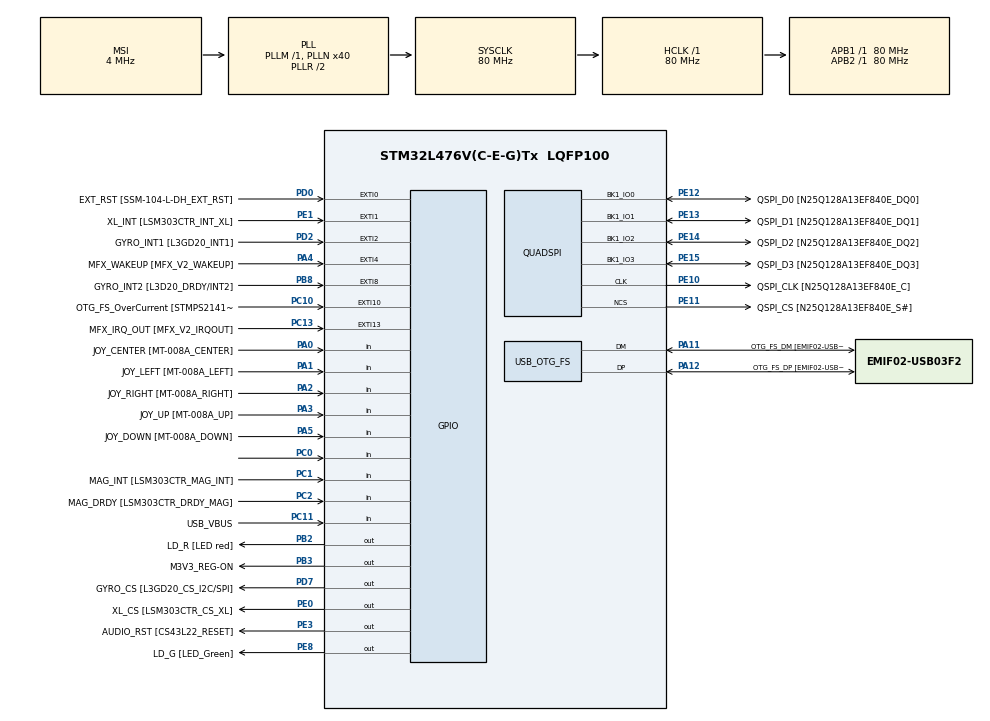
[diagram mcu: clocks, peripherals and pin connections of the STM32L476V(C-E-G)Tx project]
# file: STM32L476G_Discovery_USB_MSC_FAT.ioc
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FATFS._MAX_SS=4096
FATFS._MIN_SS=4096
FREERTOS.INCLUDE_uxTaskGetStackHighWaterMark=1
FREERTOS.Mutexes01=qspiMutex
FREERTOS.Tasks01=appTask,0,4096,appTaskBody,Default;usbTask,2,256,usbTaskBody,Default
FREERTOS.configTOTAL_HEAP_SIZE=24576
Mcu.Family=STM32L4
Mcu.Name=STM32L476V(C-E-G)Tx
Mcu.Package=LQFP100
NVIC.OTG_FS_IRQn=true\:5\:0\:false\:false\:true\:true
NVIC.PriorityGroup=NVIC_PRIORITYGROUP_4
PA0.GPIO_Label=JOY_CENTER [MT-008A_CENTER]
PA0.GPIO_Mode=GPIO_MODE_INPUT
PA0.GPIO_PuPd=GPIO_PULLDOWN
PA0.Signal=GPIO_Input
PA1.GPIO_Label=JOY_LEFT [MT-008A_LEFT]
PA1.GPIO_Mode=GPIO_MODE_INPUT
PA1.GPIO_PuPd=GPIO_PULLDOWN
PA1.Signal=GPIO_Input
PA10.GPIO_Label=COM2 [GH08172T_COM2]
PA10.GPIO_Mode=GPIO_MODE_AF_PP
PA10.GPIO_PuPd=GPIO_NOPULL
PA10.GPIO_Speed=GPIO_SPEED_FREQ_LOW
PA10.Signal=LCD_COM2
PA11.GPIO_Label=OTG_FS_DM [EMIF02-USB03F2_D-out]
PA11.GPIO_Mode=GPIO_MODE_AF_PP
PA11.GPIO_PuPd=GPIO_NOPULL
PA11.GPIO_Speed=GPIO_SPEED_FREQ_VERY_HIGH
PA11.Mode=Device_Only
PA11.Signal=USB_OTG_FS_DM
PA12.GPIO_Label=OTG_FS_DP [EMIF02-USB03F2_D+out]
PA12.GPIO_Mode=GPIO_MODE_AF_PP
PA12.GPIO_PuPd=GPIO_NOPULL
PA12.GPIO_Speed=GPIO_SPEED_FREQ_VERY_HIGH
PA12.Mode=Device_Only
PA12.Signal=USB_OTG_FS_DP
PA13.GPIO_Label=SWDIO
PA13.Mode=Serial_Wire
PA13.Signal=SYS_JTMS-SWDIO
PA14.GPIO_Label=SWCLK
PA14.Mode=Serial_Wire
PA14.Signal=SYS_JTCK-SWCLK
PA15.GPIO_Label=SEG10 [GH08172T_SEG10]
PA15.GPIO_Mode=GPIO_MODE_AF_PP
PA15.GPIO_PuPd=GPIO_NOPULL
PA15.GPIO_Speed=GPIO_SPEED_FREQ_LOW
PA15.Signal=LCD_SEG17
PA2.GPIO_Label=JOY_RIGHT [MT-008A_RIGHT]
PA2.GPIO_Mode=GPIO_MODE_INPUT
PA2.GPIO_PuPd=GPIO_PULLDOWN
PA2.Signal=GPIO_Input
PA3.GPIO_Label=JOY_UP [MT-008A_UP]
PA3.GPIO_Mode=GPIO_MODE_INPUT
PA3.GPIO_PuPd=GPIO_PULLDOWN
PA3.Signal=GPIO_Input
PA4.GPIO_Label=MFX_WAKEUP [MFX_V2_WAKEUP]
PA4.GPIO_ModeDefaultEXTI=GPIO_MODE_EVT_RISING
PA4.GPIO_PuPd=GPIO_NOPULL
PA4.Signal=GPXTI4
PA5.GPIO_Label=JOY_DOWN [MT-008A_DOWN]
PA5.GPIO_Mode=GPIO_MODE_INPUT
PA5.GPIO_PuPd=GPIO_PULLDOWN
PA5.Signal=GPIO_Input
PA6.GPIO_Label=SEG23 [GH08172T_SEG23]
PA6.GPIO_Mode=GPIO_MODE_AF_PP
PA6.GPIO_PuPd=GPIO_NOPULL
PA6.GPIO_Speed=GPIO_SPEED_FREQ_LOW
PA6.Signal=LCD_SEG3
PA7.GPIO_Label=SEG0 [GH08172T_SEG0]
PA7.GPIO_Mode=GPIO_MODE_AF_PP
PA7.GPIO_PuPd=GPIO_NOPULL
PA7.GPIO_Speed=GPIO_SPEED_FREQ_LOW
PA7.Signal=LCD_SEG4
PA8.GPIO_Label=COM0 [GH08172T_COM0]
PA8.GPIO_Mode=GPIO_MODE_AF_PP
PA8.GPIO_PuPd=GPIO_NOPULL
PA8.GPIO_Speed=GPIO_SPEED_FREQ_LOW
PA8.Signal=LCD_COM0
PA9.GPIO_Label=COM1 [GH08172T_COM1]
PA9.GPIO_Mode=GPIO_MODE_AF_PP
PA9.GPIO_PuPd=GPIO_NOPULL
PA9.GPIO_Speed=GPIO_SPEED_FREQ_LOW
PA9.Signal=LCD_COM1
PB0.GPIO_Label=SEG21 [GH08172T_SEG21]
PB0.GPIO_Mode=GPIO_MODE_AF_PP
PB0.GPIO_PuPd=GPIO_NOPULL
PB0.GPIO_Speed=GPIO_SPEED_FREQ_LOW
PB0.Signal=LCD_SEG5
PB1.GPIO_Label=SEG2 [GH08172T_SEG2]
PB1.GPIO_Mode=GPIO_MODE_AF_PP
PB1.GPIO_PuPd=GPIO_NOPULL
PB1.GPIO_Speed=GPIO_SPEED_FREQ_LOW
PB1.Signal=LCD_SEG6
PB10.GPIO_Label=MFX_I2C_SLC [MFX_V2_I2C_SCL]
PB10.GPIO_Mode=GPIO_MODE_AF_OD
PB10.GPIO_PuPdOD=GPIO_PULLUP
PB10.GPIO_Speed=GPIO_SPEED_FREQ_VERY_HIGH
PB10.Signal=I2C2_SCL
PB11.GPIO_Label=MFX_I2C_SDA [MFX_V2_I2C_SDA]
PB11.GPIO_Mode=GPIO_MODE_AF_OD
PB11.GPIO_PuPdOD=GPIO_PULLUP
PB11.GPIO_Speed=GPIO_SPEED_FREQ_VERY_HIGH
PB11.Signal=I2C2_SDA
PB12.GPIO_Label=SEG20 [GH08172T_SEG20]
PB12.GPIO_Mode=GPIO_MODE_AF_PP
PB12.GPIO_PuPd=GPIO_NOPULL
PB12.GPIO_Speed=GPIO_SPEED_FREQ_LOW
PB12.Signal=LCD_SEG12
PB13.GPIO_Label=SEG3 [GH08172T_SEG3]
PB13.GPIO_Mode=GPIO_MODE_AF_PP
PB13.GPIO_PuPd=GPIO_NOPULL
PB13.GPIO_Speed=GPIO_SPEED_FREQ_LOW
PB13.Signal=LCD_SEG13
PB14.GPIO_Label=SEG19 [GH08172T_SEG19]
PB14.GPIO_Mode=GPIO_MODE_AF_PP
PB14.GPIO_PuPd=GPIO_NOPULL
PB14.GPIO_Speed=GPIO_SPEED_FREQ_LOW
PB14.Signal=LCD_SEG14
PB15.GPIO_Label=SEG4 [GH08172T_SEG4]
PB15.GPIO_Mode=GPIO_MODE_AF_PP
PB15.GPIO_PuPd=GPIO_NOPULL
PB15.GPIO_Speed=GPIO_SPEED_FREQ_LOW
PB15.Signal=LCD_SEG15
PB2.GPIO_Label=LD_R [LED red]
PB2.GPIO_ModeDefaultOutputPP=GPIO_MODE_OUTPUT_PP
PB2.GPIO_PuPd=GPIO_PULLUP
PB2.GPIO_Speed=GPIO_SPEED_FREQ_VERY_HIGH
PB2.Signal=GPIO_Output
PB3.GPIO_Label=M3V3_REG-ON
PB3.GPIO_ModeDefaultOutputPP=GPIO_MODE_OUTPUT_PP
PB3.GPIO_PuPd=GPIO_NOPULL
PB3.GPIO_Speed=GPIO_SPEED_FREQ_LOW
PB3.Signal=GPIO_Output
PB4.GPIO_Label=SEG11 [GH08172T_SEG11]
PB4.GPIO_Mode=GPIO_MODE_AF_PP
PB4.GPIO_PuPd=GPIO_NOPULL
PB4.GPIO_Speed=GPIO_SPEED_FREQ_LOW
PB4.Signal=LCD_SEG8
PB5.GPIO_Label=SEG12 [GH08172T_SEG12]
PB5.GPIO_Mode=GPIO_MODE_AF_PP
PB5.GPIO_PuPd=GPIO_NOPULL
PB5.GPIO_Speed=GPIO_SPEED_FREQ_LOW
PB5.Signal=LCD_SEG9
PB6.GPIO_FM6=__NULL
PB6.GPIO_Label=I2C1_SCL [SSM-104-L-DH_SCL]
PB6.GPIO_Mode=GPIO_MODE_AF_OD
PB6.GPIO_PuPdOD=GPIO_PULLUP
PB6.GPIO_Speed=GPIO_SPEED_FREQ_VERY_HIGH
PB6.Signal=I2C1_SCL
PB7.GPIO_FM7=__NULL
PB7.GPIO_Label=I2C1_SDA [SSM-104-L-DH_SDA]
PB7.GPIO_Mode=GPIO_MODE_AF_OD
PB7.GPIO_PuPdOD=GPIO_PULLUP
PB7.GPIO_Speed=GPIO_SPEED_FREQ_VERY_HIGH
PB7.Signal=I2C1_SDA
PB8.GPIO_Label=GYRO_INT2 [L3D20_DRDY/INT2]
PB8.GPIO_ModeDefaultEXTI=GPIO_MODE_EVT_RISING
PB8.GPIO_PuPd=GPIO_NOPULL
PB8.Signal=GPXTI8
PB9.GPIO_FM9=__NULL
PB9.GPIO_Label=COM3 [GH08172T_COM3]
PB9.GPIO_Mode=GPIO_MODE_AF_PP
PB9.GPIO_PuPd=GPIO_NOPULL
PB9.GPIO_Speed=GPIO_SPEED_FREQ_LOW
PB9.Signal=LCD_COM3
PC0.Signal=GPIO_Input
PC1.GPIO_Label=MAG_INT [LSM303CTR_MAG_INT]
PC1.GPIO_Mode=GPIO_MODE_INPUT
PC1.GPIO_PuPd=GPIO_NOPULL
PC1.Signal=GPIO_Input
PC10.GPIO_Label=OTG_FS_OverCurrent [STMPS2141STR_FAULT]
PC10.GPIO_ModeDefaultEXTI=GPIO_MODE_EVT_RISING
PC10.GPIO_PuPd=GPIO_NOPULL
PC10.Signal=GPXTI10
PC11.GPIO_Label=USB_VBUS
PC11.Signal=GPIO_Input
PC13.GPIO_Label=MFX_IRQ_OUT [MFX_V2_IRQOUT]
PC13.GPIO_ModeDefaultEXTI=GPIO_MODE_EVT_RISING
PC13.GPIO_PuPd=GPIO_NOPULL
PC13.Signal=GPXTI13
PC14/OSC32_IN.Mode=LSE-External-Oscillator
PC14/OSC32_IN.Signal=RCC_OSC32_IN
PC15/OSC32_OUT.Mode=LSE-External-Oscillator
PC15/OSC32_OUT.Signal=RCC_OSC32_OUT
PC2.GPIO_Label=MAG_DRDY [LSM303CTR_DRDY_MAG]
PC2.GPIO_Mode=GPIO_MODE_INPUT
PC2.GPIO_PuPd=GPIO_NOPULL
PC2.Signal=GPIO_Input
PC3.GPIO_Label=VLCD
PC3.GPIO_Mode=GPIO_MODE_AF_PP
PC3.GPIO_PuPd=GPIO_NOPULL
PC3.GPIO_Speed=GPIO_SPEED_FREQ_LOW
PC3.Signal=LCD_VLCD
PC4.GPIO_Label=SEG22 [GH08172T_SEG22]
PC4.GPIO_Mode=GPIO_MODE_AF_PP
PC4.GPIO_PuPd=GPIO_NOPULL
PC4.GPIO_Speed=GPIO_SPEED_FREQ_LOW
PC4.Signal=LCD_SEG22
PC5.GPIO_Label=SEG1 [GH08172T_SEG1]
PC5.GPIO_Mode=GPIO_MODE_AF_PP
PC5.GPIO_PuPd=GPIO_NOPULL
PC5.GPIO_Speed=GPIO_SPEED_FREQ_LOW
PC5.Signal=LCD_SEG23
PC6.GPIO_Label=SEG14 [GH08172T_SEG14]
PC6.GPIO_Mode=GPIO_MODE_AF_PP
PC6.GPIO_PuPd=GPIO_NOPULL
PC6.GPIO_Speed=GPIO_SPEED_FREQ_LOW
PC6.Signal=LCD_SEG24
PC7.GPIO_Label=SEG9 [GH08172T_SEG9]
PC7.GPIO_Mode=GPIO_MODE_AF_PP
PC7.GPIO_PuPd=GPIO_NOPULL
PC7.GPIO_Speed=GPIO_SPEED_FREQ_LOW
PC7.Signal=LCD_SEG25
PC8.GPIO_Label=SEG13 [GH08172T_SEG13]
PC8.GPIO_Mode=GPIO_MODE_AF_PP
PC8.GPIO_PuPd=GPIO_NOPULL
PC8.GPIO_Speed=GPIO_SPEED_FREQ_LOW
PC8.Signal=LCD_SEG26
PD0.GPIO_Label=EXT_RST [SSM-104-L-DH_EXT_RST]
PD0.GPIO_ModeDefaultEXTI=GPIO_MODE_EVT_RISING
PD0.GPIO_PuPd=GPIO_NOPULL
PD0.Signal=GPXTI0
PD1.GPIO_Label=MEMS_SCK [L3GD20_SCL/SPC]
PD1.GPIO_Mode=GPIO_MODE_AF_PP
PD1.GPIO_PuPd=GPIO_NOPULL
PD1.GPIO_Speed=GPIO_SPEED_FREQ_VERY_HIGH
PD1.Signal=SPI2_SCK
PD10.GPIO_Label=SEG17 [GH08172T_SEG17]
PD10.GPIO_Mode=GPIO_MODE_AF_PP
PD10.GPIO_PuPd=GPIO_NOPULL
PD10.GPIO_Speed=GPIO_SPEED_FREQ_LOW
PD10.Signal=LCD_SEG30
PD11.GPIO_Label=SEG6 [GH08172T_SEG6]
PD11.GPIO_Mode=GPIO_MODE_AF_PP
PD11.GPIO_PuPd=GPIO_NOPULL
PD11.GPIO_Speed=GPIO_SPEED_FREQ_LOW
PD11.Signal=LCD_SEG31
PD12.GPIO_Label=SEG16 [GH08172T_SEG16]
PD12.GPIO_Mode=GPIO_MODE_AF_PP
PD12.GPIO_PuPd=GPIO_NOPULL
PD12.GPIO_Speed=GPIO_SPEED_FREQ_LOW
PD12.Signal=LCD_SEG32
PD13.GPIO_Label=SEG7 [GH08172T_SEG7]
PD13.GPIO_Mode=GPIO_MODE_AF_PP
PD13.GPIO_PuPd=GPIO_NOPULL
PD13.GPIO_Speed=GPIO_SPEED_FREQ_LOW
PD13.Signal=LCD_SEG33
PD14.GPIO_Label=SEG15 [GH08172T_SEG15]
PD14.GPIO_Mode=GPIO_MODE_AF_PP
PD14.GPIO_PuPd=GPIO_NOPULL
PD14.GPIO_Speed=GPIO_SPEED_FREQ_LOW
PD14.Signal=LCD_SEG34
PD15.GPIO_Label=SEG8 [GH08172T_SEG8]
PD15.GPIO_Mode=GPIO_MODE_AF_PP
PD15.GPIO_PuPd=GPIO_NOPULL
PD15.GPIO_Speed=GPIO_SPEED_FREQ_LOW
PD15.Signal=LCD_SEG35
PD2.GPIO_Label=GYRO_INT1 [L3GD20_INT1]
PD2.GPIO_ModeDefaultEXTI=GPIO_MODE_EVT_RISING
PD2.GPIO_PuPd=GPIO_NOPULL
PD2.Signal=GPXTI2
PD3.GPIO_Label=MEMS_MISO [L3GD20_SA0/SDO]
PD3.GPIO_Mode=GPIO_MODE_AF_PP
PD3.GPIO_PuPd=GPIO_NOPULL
PD3.GPIO_Speed=GPIO_SPEED_FREQ_VERY_HIGH
PD3.Signal=SPI2_MISO
PD4.GPIO_Label=MEMS_MOSI [L3GD20_SDA/SDI/SDO]
PD4.GPIO_Mode=GPIO_MODE_AF_PP
PD4.GPIO_PuPd=GPIO_NOPULL
PD4.GPIO_Speed=GPIO_SPEED_FREQ_VERY_HIGH
PD4.Signal=SPI2_MOSI
PD5.GPIO_Label=USART_TX
PD5.GPIO_Mode=GPIO_MODE_AF_PP
PD5.GPIO_PuPd=GPIO_PULLUP
PD5.GPIO_Speed=GPIO_SPEED_FREQ_VERY_HIGH
PD5.Signal=USART2_TX
PD6.GPIO_Label=USART_RX
PD6.GPIO_Mode=GPIO_MODE_AF_PP
PD6.GPIO_PuPd=GPIO_PULLUP
PD6.GPIO_Speed=GPIO_SPEED_FREQ_VERY_HIGH
PD6.Signal=USART2_RX
PD7.GPIO_Label=GYRO_CS [L3GD20_CS_I2C/SPI]
PD7.GPIO_ModeDefaultOutputPP=GPIO_MODE_OUTPUT_PP
PD7.GPIO_PuPd=GPIO_NOPULL
PD7.GPIO_Speed=GPIO_SPEED_FREQ_VERY_HIGH
PD7.Signal=GPIO_Output
PD8.GPIO_Label=SEG18 [GH08172T_SEG18]
PD8.GPIO_Mode=GPIO_MODE_AF_PP
PD8.GPIO_PuPd=GPIO_NOPULL
PD8.GPIO_Speed=GPIO_SPEED_FREQ_LOW
PD8.Signal=LCD_SEG28
PD9.GPIO_Label=SEG5 [GH08172T_SEG5]
PD9.GPIO_Mode=GPIO_MODE_AF_PP
PD9.GPIO_PuPd=GPIO_NOPULL
PD9.GPIO_Speed=GPIO_SPEED_FREQ_LOW
PD9.Signal=LCD_SEG29
PE0.GPIO_Label=XL_CS [LSM303CTR_CS_XL]
PE0.GPIO_ModeDefaultOutputPP=GPIO_MODE_OUTPUT_PP
PE0.GPIO_PuPd=GPIO_NOPULL
PE0.GPIO_Speed=GPIO_SPEED_FREQ_LOW
PE0.Signal=GPIO_Output
PE1.GPIO_Label=XL_INT [LSM303CTR_INT_XL]
PE1.GPIO_ModeDefaultEXTI=GPIO_MODE_EVT_RISING
PE1.GPIO_PuPd=GPIO_NOPULL
PE1.Signal=GPXTI1
PE10.GPIO_Label=QSPI_CLK [N25Q128A13EF840E_C]
PE10.GPIO_Mode=GPIO_MODE_AF_PP
PE10.GPIO_PuPd=GPIO_NOPULL
PE10.GPIO_Speed=GPIO_SPEED_FREQ_VERY_HIGH
PE10.Mode=Single Bank
PE10.Signal=QUADSPI_CLK
PE11.GPIO_Label=QSPI_CS [N25Q128A13EF840E_S\#]
PE11.GPIO_Mode=GPIO_MODE_AF_PP
PE11.GPIO_PuPd=GPIO_NOPULL
PE11.GPIO_Speed=GPIO_SPEED_FREQ_VERY_HIGH
PE11.Mode=Single Bank
PE11.Signal=QUADSPI_NCS
PE12.GPIO_Label=QSPI_D0 [N25Q128A13EF840E_DQ0]
PE12.GPIO_Mode=GPIO_MODE_AF_PP
PE12.GPIO_PuPd=GPIO_NOPULL
PE12.GPIO_Speed=GPIO_SPEED_FREQ_VERY_HIGH
PE12.Mode=Single Bank
PE12.Signal=QUADSPI_BK1_IO0
PE13.GPIO_Label=QSPI_D1 [N25Q128A13EF840E_DQ1]
PE13.GPIO_Mode=GPIO_MODE_AF_PP
PE13.GPIO_PuPd=GPIO_NOPULL
PE13.GPIO_Speed=GPIO_SPEED_FREQ_VERY_HIGH
PE13.Mode=Single Bank
PE13.Signal=QUADSPI_BK1_IO1
PE14.GPIO_Label=QSPI_D2 [N25Q128A13EF840E_DQ2]
PE14.GPIO_Mode=GPIO_MODE_AF_PP
PE14.GPIO_PuPd=GPIO_NOPULL
PE14.GPIO_Speed=GPIO_SPEED_FREQ_VERY_HIGH
PE14.Mode=Single Bank
PE14.Signal=QUADSPI_BK1_IO2
PE15.GPIO_Label=QSPI_D3 [N25Q128A13EF840E_DQ3]
PE15.GPIO_Mode=GPIO_MODE_AF_PP
PE15.GPIO_PuPd=GPIO_NOPULL
PE15.GPIO_Speed=GPIO_SPEED_FREQ_VERY_HIGH
PE15.Mode=Single Bank
PE15.Signal=QUADSPI_BK1_IO3
PE2.GPIO_Label=SAI1_MCK [CS43L22_MCLK]
PE2.GPIO_Mode=GPIO_MODE_AF_PP
PE2.GPIO_PuPd=GPIO_NOPULL
PE2.GPIO_Speed=GPIO_SPEED_FREQ_VERY_HIGH
PE2.Signal=SAI1_MCLK_A
PE3.GPIO_Label=AUDIO_RST [CS43L22_RESET]
PE3.GPIO_ModeDefaultOutputPP=GPIO_MODE_OUTPUT_PP
PE3.GPIO_PuPd=GPIO_NOPULL
PE3.GPIO_Speed=GPIO_SPEED_FREQ_HIGH
PE3.Signal=GPIO_Output
PE4.GPIO_Label=SAI1_FS [CS43L22_LRCK]
PE4.GPIO_Mode=GPIO_MODE_AF_PP
PE4.GPIO_PuPd=GPIO_NOPULL
PE4.GPIO_Speed=GPIO_SPEED_FREQ_VERY_HIGH
PE4.Signal=SAI1_FS_A
PE5.GPIO_Label=SAI1_SCK [CS43L22_SCLK]
PE5.GPIO_Mode=GPIO_MODE_AF_PP
PE5.GPIO_PuPd=GPIO_NOPULL
PE5.GPIO_Speed=GPIO_SPEED_FREQ_VERY_HIGH
PE5.Signal=SAI1_SCK_A
PE6.GPIO_Label=SAI1_SD [CS43L22_SDIN]
PE6.GPIO_Mode=GPIO_MODE_AF_PP
PE6.GPIO_PuPd=GPIO_NOPULL
PE6.GPIO_Speed=GPIO_SPEED_FREQ_VERY_HIGH
PE6.Signal=SAI1_SD_A
PE7.GPIO_Label=AUDIO_DIN [MP34DT01_DOUT]
PE7.GPIO_Mode=GPIO_MODE_AF_PP
PE7.GPIO_PuPd=GPIO_NOPULL
PE7.GPIO_Speed=GPIO_SPEED_FREQ_VERY_HIGH
PE7.Signal=SAI1_SD_B
PE8.GPIO_Label=LD_G [LED_Green]
PE8.GPIO_ModeDefaultOutputPP=GPIO_MODE_OUTPUT_PP
PE8.GPIO_PuPd=GPIO_PULLUP
PE8.GPIO_Speed=GPIO_SPEED_FREQ_VERY_HIGH
PE8.Signal=GPIO_Output
PE9.GPIO_Label=AUDIO_CLK [MP34DT01_CLK]
PE9.GPIO_Mode=GPIO_MODE_AF_PP
PE9.GPIO_PuPd=GPIO_NOPULL
PE9.GPIO_Speed=GPIO_SPEED_FREQ_LOW
PE9.Signal=SAI1_FS_B
PH0/OSC_IN.Signal=RCC_OSC_IN
PH1/OSC_OUT.Signal=RCC_OSC_OUT
ProjectManager.HeapSize=0x200
ProjectManager.StackSize=0x400
ProjectManager.TargetToolchain=SW4STM32
QUADSPI.ClockPrescaler-Single\ Bank=0
QUADSPI.FifoThreshold-Single\ Bank=4
QUADSPI.FlashSize-Single\ Bank=23
RCC.ADCFreq_Value=48000000
RCC.AHBFreq_Value=80000000
RCC.APB1Freq_Value=80000000
RCC.APB1TimFreq_Value=80000000
RCC.APB2Freq_Value=80000000
RCC.APB2TimFreq_Value=80000000
RCC.CortexFreq_Value=80000000
RCC.HCLKFreq_Value=80000000
RCC.HSE_VALUE=8000000
RCC.HSI_VALUE=16000000
RCC.MSI_VALUE=4000000
RCC.PLLN=40
RCC.PLLSAI1N=24
RCC.PREFETCH_ENABLE=1
RCC.SYSCLKFreq_VALUE=80000000
RCC.SYSCLKSource=RCC_SYSCLKSOURCE_PLLCLK
RCC.USBFreq_Value=48000000
RCC.VCOOutputFreq_Value=160000000
USB_DEVICE.MSC_MEDIA_PACKET=4096
USB_DEVICE.USBD_HandleTypeDef=hUsbDeviceFS
USB_DEVICE.USBD_LPM_ENABLED=0
USB_DEVICE.VirtualMode=Msc
USB_DEVICE.VirtualModeFS=Msc_FS
USB_OTG_FS.VirtualMode=Device_Only
USB_OTG_FS.vbus_sensing_enable=DISABLE
VP_FATFS_VS_Generic.Mode=User_defined
VP_FREERTOS_VS_ENABLE.Mode=Enabled
VP_USB_DEVICE_VS_USB_DEVICE_MSC_FS.Mode=MSC_FS
board=STM32L476G-DISCO

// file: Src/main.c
/**
  ******************************************************************************
  * File Name          : main.c
  * Description        : Main program body
  ******************************************************************************
  *
  * COPYRIGHT(c) 2016 STMicroelectronics
  *
  * Redistribution and use in source and binary forms, with or without modification,
  * are permitted provided that the following conditions are met:
  *   1. Redistributions of source code must retain the above copyright notice,
  *      this list of conditions and the following disclaimer.
  *   2. Redistributions in binary form must reproduce the above copyright notice,
  *      this list of conditions and the following disclaimer in the documentation
  *      and/or other materials provided with the distribution.
  *   3. Neither the name of STMicroelectronics nor the names of its contributors
  *      may be used to endorse or promote products derived from this software
  *      without specific prior written permission.
  *
  * THIS SOFTWARE IS PROVIDED BY THE COPYRIGHT HOLDERS AND CONTRIBUTORS "AS IS"
  * AND ANY EXPRESS OR IMPLIED WARRANTIES, INCLUDING, BUT NOT LIMITED TO, THE
  * IMPLIED WARRANTIES OF MERCHANTABILITY AND FITNESS FOR A PARTICULAR PURPOSE ARE
  * DISCLAIMED. IN NO EVENT SHALL THE COPYRIGHT HOLDER OR CONTRIBUTORS BE LIABLE
  * FOR ANY DIRECT, INDIRECT, INCIDENTAL, SPECIAL, EXEMPLARY, OR CONSEQUENTIAL
  * DAMAGES (INCLUDING, BUT NOT LIMITED TO, PROCUREMENT OF SUBSTITUTE GOODS OR
  * SERVICES; LOSS OF USE, DATA, OR PROFITS; OR BUSINESS INTERRUPTION) HOWEVER
  * CAUSED AND ON ANY THEORY OF LIABILITY, WHETHER IN CONTRACT, STRICT LIABILITY,
  * OR TORT (INCLUDING NEGLIGENCE OR OTHERWISE) ARISING IN ANY WAY OUT OF THE USE
  * OF THIS SOFTWARE, EVEN IF ADVISED OF THE POSSIBILITY OF SUCH DAMAGE.
  *
  ******************************************************************************
  */
#include "stm32l4xx_hal.h"
#include "cmsis_os.h"
#include "fatfs.h"
#include "quadspi.h"
#include "usb_device.h"
#include "gpio.h"

/* USER CODE BEGIN Includes */
#include <stdio.h>
#include <stdlib.h>
/* USER CODE END Includes */

/* USER CODE BEGIN PV */
/* Private variables ---------------------------------------------------------*/

/* USER CODE END PV */

void SystemClock_Config(void);
void Error_Handler(void);
void MX_FREERTOS_Init(void);

/* USER CODE BEGIN PFP */
/* Private function prototypes -----------------------------------------------*/

/* USER CODE END PFP */

int main(void)
{

  /* USER CODE BEGIN 1 */
  initialise_monitor_handles();                        //to enable debug printf()

  QSPI_Info flashInfo;                                 //to get info about the SPI NOR flash chip
  /* USER CODE END 1 */

  /* MCU Configuration----------------------------------------------------------*/

  /* Reset of all peripherals, Initializes the Flash interface and the Systick. */
  HAL_Init();

  /* Configure the system clock */
  SystemClock_Config();

  /* Initialize all configured peripherals */
  MX_GPIO_Init();
  MX_QUADSPI_Init();

  /* USER CODE BEGIN 2 */
  printf("USB MSC Program with FAT File-System\n");
  printf("Using SPI NOR Flash as USB Removable Storage\n\n");

  //display info about the SPI NOR flash chip
  BSP_QSPI_GetInfo(&flashInfo);
  printf("Flash Chip Info: \n");
  printf("Chip Vendor: Micron Technology Corp.\n");
  printf("Chip Model: N25Q128A SPI NOR Flash\n");
  printf("Capacity (bytes): %d\n", flashInfo.FlashSize);
  printf("Sector Size (bytes): %d\n", flashInfo.EraseSectorSize);
  /* USER CODE END 2 */

  /* Call init function for freertos objects (in freertos.c) */
  MX_FREERTOS_Init();

  /* Start scheduler */
  osKernelStart();

  /* We should never get here as control is now taken by the scheduler */

  /* Infinite loop */
  while (1)
  {

  }

}

/** System Clock Configuration
*/
void SystemClock_Config(void)
{

  RCC_OscInitTypeDef RCC_OscInitStruct;
  RCC_ClkInitTypeDef RCC_ClkInitStruct;
  RCC_PeriphCLKInitTypeDef PeriphClkInit;

  RCC_OscInitStruct.OscillatorType = RCC_OSCILLATORTYPE_LSE|RCC_OSCILLATORTYPE_MSI;
  RCC_OscInitStruct.LSEState = RCC_LSE_ON;
  RCC_OscInitStruct.MSIState = RCC_MSI_ON;
  RCC_OscInitStruct.MSICalibrationValue = 0;
  RCC_OscInitStruct.MSIClockRange = RCC_MSIRANGE_6;
  RCC_OscInitStruct.PLL.PLLState = RCC_PLL_ON;
  RCC_OscInitStruct.PLL.PLLSource = RCC_PLLSOURCE_MSI;
  RCC_OscInitStruct.PLL.PLLM = 1;
  RCC_OscInitStruct.PLL.PLLN = 40;
  RCC_OscInitStruct.PLL.PLLP = RCC_PLLP_DIV7;
  RCC_OscInitStruct.PLL.PLLQ = RCC_PLLQ_DIV2;
  RCC_OscInitStruct.PLL.PLLR = RCC_PLLR_DIV2;
  if (HAL_RCC_OscConfig(&RCC_OscInitStruct) != HAL_OK)
  {
    Error_Handler();
  }

  RCC_ClkInitStruct.ClockType = RCC_CLOCKTYPE_HCLK|RCC_CLOCKTYPE_SYSCLK
                              |RCC_CLOCKTYPE_PCLK1|RCC_CLOCKTYPE_PCLK2;
  RCC_ClkInitStruct.SYSCLKSource = RCC_SYSCLKSOURCE_PLLCLK;
  RCC_ClkInitStruct.AHBCLKDivider = RCC_SYSCLK_DIV1;
  RCC_ClkInitStruct.APB1CLKDivider = RCC_HCLK_DIV1;
  RCC_ClkInitStruct.APB2CLKDivider = RCC_HCLK_DIV1;
  if (HAL_RCC_ClockConfig(&RCC_ClkInitStruct, FLASH_LATENCY_4) != HAL_OK)
  {
    Error_Handler();
  }

  PeriphClkInit.PeriphClockSelection = RCC_PERIPHCLK_USB;
  PeriphClkInit.UsbClockSelection = RCC_USBCLKSOURCE_PLLSAI1;
  PeriphClkInit.PLLSAI1.PLLSAI1Source = RCC_PLLSOURCE_MSI;
  PeriphClkInit.PLLSAI1.PLLSAI1M = 1;
  PeriphClkInit.PLLSAI1.PLLSAI1N = 24;
  PeriphClkInit.PLLSAI1.PLLSAI1P = RCC_PLLP_DIV7;
  PeriphClkInit.PLLSAI1.PLLSAI1Q = RCC_PLLQ_DIV2;
  PeriphClkInit.PLLSAI1.PLLSAI1R = RCC_PLLR_DIV2;
  PeriphClkInit.PLLSAI1.PLLSAI1ClockOut = RCC_PLLSAI1_48M2CLK;
  if (HAL_RCCEx_PeriphCLKConfig(&PeriphClkInit) != HAL_OK)
  {
    Error_Handler();
  }

  __HAL_RCC_PWR_CLK_ENABLE();

  if (HAL_PWREx_ControlVoltageScaling(PWR_REGULATOR_VOLTAGE_SCALE1) != HAL_OK)
  {
    Error_Handler();
  }

  HAL_SYSTICK_Config(HAL_RCC_GetHCLKFreq()/1000);

  HAL_SYSTICK_CLKSourceConfig(SYSTICK_CLKSOURCE_HCLK);

  HAL_RCCEx_EnableMSIPLLMode();

  /* SysTick_IRQn interrupt configuration */
  HAL_NVIC_SetPriority(SysTick_IRQn, 15, 0);
}

void Error_Handler(void)
{
  while(1)
  {
  }
}

/************************ (C) COPYRIGHT STMicroelectronics *****END OF FILE****/

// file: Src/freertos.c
/**
  ******************************************************************************
  * File Name          : freertos.c
  * Description        : Code for freertos applications
  ******************************************************************************
  *
  * COPYRIGHT(c) 2016 STMicroelectronics
  *
  * Redistribution and use in source and binary forms, with or without modification,
  * are permitted provided that the following conditions are met:
  *   1. Redistributions of source code must retain the above copyright notice,
  *      this list of conditions and the following disclaimer.
  *   2. Redistributions in binary form must reproduce the above copyright notice,
  *      this list of conditions and the following disclaimer in the documentation
  *      and/or other materials provided with the distribution.
  *   3. Neither the name of STMicroelectronics nor the names of its contributors
  *      may be used to endorse or promote products derived from this software
  *      without specific prior written permission.
  *
  * THIS SOFTWARE IS PROVIDED BY THE COPYRIGHT HOLDERS AND CONTRIBUTORS "AS IS"
  * AND ANY EXPRESS OR IMPLIED WARRANTIES, INCLUDING, BUT NOT LIMITED TO, THE
  * IMPLIED WARRANTIES OF MERCHANTABILITY AND FITNESS FOR A PARTICULAR PURPOSE ARE
  * DISCLAIMED. IN NO EVENT SHALL THE COPYRIGHT HOLDER OR CONTRIBUTORS BE LIABLE
  * FOR ANY DIRECT, INDIRECT, INCIDENTAL, SPECIAL, EXEMPLARY, OR CONSEQUENTIAL
  * DAMAGES (INCLUDING, BUT NOT LIMITED TO, PROCUREMENT OF SUBSTITUTE GOODS OR
  * SERVICES; LOSS OF USE, DATA, OR PROFITS; OR BUSINESS INTERRUPTION) HOWEVER
  * CAUSED AND ON ANY THEORY OF LIABILITY, WHETHER IN CONTRACT, STRICT LIABILITY,
  * OR TORT (INCLUDING NEGLIGENCE OR OTHERWISE) ARISING IN ANY WAY OUT OF THE USE
  * OF THIS SOFTWARE, EVEN IF ADVISED OF THE POSSIBILITY OF SUCH DAMAGE.
  *
  ******************************************************************************
  */

#include "FreeRTOS.h"
#include "task.h"
#include "cmsis_os.h"

/* USER CODE BEGIN Includes */

#include "stm32l4xx_hal.h"
#include "mxconstants.h"
#include "usbd_core.h"
#include "usb_device.h"
#include "fatfs.h"

/* USER CODE END Includes */

osThreadId appTaskHandle;
osThreadId usbTaskHandle;
osMutexId qspiMutexHandle;

/* USER CODE BEGIN Variables */

FIL File;
FATFS FatFs;

/* USER CODE END Variables */

void appTaskBody(void const * argument);
void usbTaskBody(void const * argument);

extern void MX_USB_DEVICE_Init(void);
extern void MX_FATFS_Init(void);
void MX_FREERTOS_Init(void); /* (MISRA C 2004 rule 8.1) */

/* USER CODE BEGIN FunctionPrototypes */

extern void Error_Handler(void);

/* USER CODE END FunctionPrototypes */

/* Hook prototypes */

/* Init FreeRTOS */

void MX_FREERTOS_Init(void) {

  /* Create the mutex(es) */
  /* definition and creation of qspiMutex */
  osMutexDef(qspiMutex);
  qspiMutexHandle = osMutexCreate(osMutex(qspiMutex));

  /* Create the thread(s) */
  /* definition and creation of appTask */
  osThreadDef(appTask, appTaskBody, osPriorityNormal, 0, 4096);
  appTaskHandle = osThreadCreate(osThread(appTask), NULL);

  /* definition and creation of usbTask */
  osThreadDef(usbTask, usbTaskBody, osPriorityHigh, 0, 256);
  usbTaskHandle = osThreadCreate(osThread(usbTask), NULL);

}

/* appTaskBody function */
void appTaskBody(void const * argument)
{
  /* init code for FATFS */
  MX_FATFS_Init();

  /* USER CODE BEGIN appTaskBody */

  /* Wait for the qspiMutex */
  osMutexWait(qspiMutexHandle, osWaitForever);

  /* Register the file system object to the FatFs module */
  if(f_mount(&FatFs, (TCHAR const*)USER_Path, 1) != FR_OK)
  {
    /* FatFs Initialization Error */
    if (f_mkfs((TCHAR const*)USER_Path, 0, 128) != FR_OK)
    {
      Error_Handler();
    }
    else {
      /* Second trial to register the file system object */
      if(f_mount(&FatFs, (TCHAR const*)USER_Path, 1) != FR_OK)
      {
        Error_Handler();
      }
    }
  }

  /* FatFS file write test */
  if(f_open(&File, "Test", FA_CREATE_NEW | FA_WRITE) == FR_OK)
  {
    f_printf(&File, "FatFS is working properly.\n");
    f_close(&File);
  }

  /* Release the qspiMutex */
  osMutexRelease(qspiMutexHandle);

  //printf("appTask Stack Usage (words): %d\n", (int)uxTaskGetStackHighWaterMark(NULL));               //calc. max. stack usage for the task

  /* Infinite loop */
  for(;;)
  {
    osDelay(100);

    /* Wait for the qspiMutex */
    osMutexWait(qspiMutexHandle, osWaitForever);

    /* You can access qspi again here */
    osDelay(1);

    /* Release the qspiMutex */
    osMutexRelease(qspiMutexHandle);

	HAL_GPIO_TogglePin(LD_G_GPIO_Port, LD_G_Pin);         //toggle green LED
  }
  /* USER CODE END appTaskBody */
}

/* usbTaskBody function */
void usbTaskBody(void const * argument)
{
  /* USER CODE BEGIN usbTaskBody */
  uint32_t USB_VBUS_counter = 0;

  /* Infinite loop */
  for(;;)
  {
    USB_VBUS_counter = 0;
    /* USB_VBUS availability check */
    while (USB_VBUS_counter < 5)
    {
      osDelay(10);
      if (HAL_GPIO_ReadPin(USB_VBUS_GPIO_Port, USB_VBUS_Pin) != GPIO_PIN_RESET)
      {
        USB_VBUS_counter++;
      }
      else {
        break;
      }
    }
    if(USB_VBUS_counter >= 5)
    {
	  /* Wait for the qspiMutex */
      osMutexWait(qspiMutexHandle, osWaitForever);

      /* Initialize USB peripheral */
      MX_USB_DEVICE_Init();

      HAL_GPIO_WritePin(LD_R_GPIO_Port, LD_R_Pin, GPIO_PIN_SET);

      /* USB_VBUS availability check */
      while (USB_VBUS_counter)
      {
        /* Wait 100ms, then check the USB_VBUS availability */
        osDelay(100);

        if (HAL_GPIO_ReadPin(USB_VBUS_GPIO_Port, USB_VBUS_Pin) == GPIO_PIN_RESET)
        {
          USB_VBUS_counter--;
        }
        else {
          USB_VBUS_counter = 5;
        }
      }

      /* Deinitialize USB peripheral */
      USBD_DeInit(&hUsbDeviceFS);

	  /* Release the qspiMutex */
	  osMutexRelease(qspiMutexHandle);

	  //printf("usbTask Stack Usage (words): %d\n", (int)uxTaskGetStackHighWaterMark(NULL));                    //calc. max. stack usage for the task

      HAL_GPIO_WritePin(LD_R_GPIO_Port, LD_R_Pin, GPIO_PIN_RESET);
    }

    osDelay(1000);                                 //check for USB_VBUS availability every 1 second
  }
  /* USER CODE END usbTaskBody */
}

/************************ (C) COPYRIGHT STMicroelectronics *****END OF FILE****/
